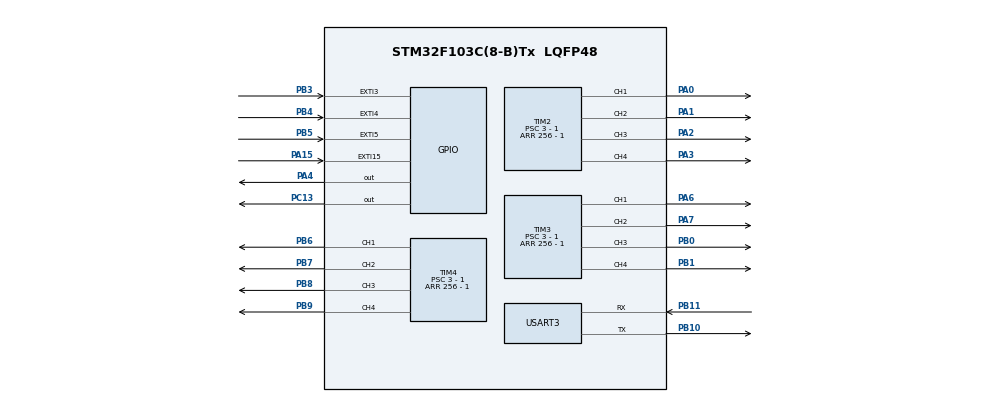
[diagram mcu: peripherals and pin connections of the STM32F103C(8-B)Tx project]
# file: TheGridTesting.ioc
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Mcu.Family=STM32F1
Mcu.Name=STM32F103C(8-B)Tx
Mcu.Package=LQFP48
NVIC.EXTI15_10_IRQn=true\:0\:0\:false\:false\:true\:true\:true\:true
NVIC.EXTI3_IRQn=true\:0\:0\:false\:false\:true\:true\:true\:true
NVIC.EXTI4_IRQn=true\:0\:0\:false\:false\:true\:true\:true\:true
NVIC.EXTI9_5_IRQn=true\:0\:0\:false\:false\:true\:true\:true\:true
NVIC.PriorityGroup=NVIC_PRIORITYGROUP_4
NVIC.USART3_IRQn=true\:0\:0\:false\:false\:true\:true\:true\:true
PA0-WKUP.Signal=S_TIM2_CH1_ETR
PA1.Signal=S_TIM2_CH2
PA15.GPIO_ModeDefaultEXTI=GPIO_MODE_IT_RISING
PA15.GPIO_PuPd=GPIO_NOPULL
PA15.Signal=GPXTI15
PA2.Signal=S_TIM2_CH3
PA3.Signal=S_TIM2_CH4
PA4.Signal=GPIO_Output
PA6.Signal=S_TIM3_CH1
PA7.Signal=S_TIM3_CH2
PB0.Signal=S_TIM3_CH3
PB1.Signal=S_TIM3_CH4
PB10.Mode=Asynchronous
PB10.Signal=USART3_TX
PB11.Mode=Asynchronous
PB11.Signal=USART3_RX
PB3.GPIO_ModeDefaultEXTI=GPIO_MODE_IT_RISING
PB3.GPIO_PuPd=GPIO_NOPULL
PB3.Signal=GPXTI3
PB4.GPIO_ModeDefaultEXTI=GPIO_MODE_IT_RISING
PB4.GPIO_PuPd=GPIO_NOPULL
PB4.Signal=GPXTI4
PB5.GPIO_ModeDefaultEXTI=GPIO_MODE_IT_RISING
PB5.GPIO_PuPd=GPIO_NOPULL
PB5.Signal=GPXTI5
PB6.Signal=S_TIM4_CH1
PB7.Signal=S_TIM4_CH2
PB8.Signal=S_TIM4_CH3
PB9.Signal=S_TIM4_CH4
PC13-TAMPER-RTC.Signal=GPIO_Output
ProjectManager.HeapSize=0x200
ProjectManager.StackSize=0x400
ProjectManager.TargetToolchain=STM32CubeIDE
RCC.APB1Freq_Value=8000000
RCC.APB2Freq_Value=8000000
SH.S_TIM2_CH1_ETR.0=TIM2_CH1,PWM Generation1 CH1
SH.S_TIM2_CH2.0=TIM2_CH2,PWM Generation2 CH2
SH.S_TIM2_CH3.0=TIM2_CH3,PWM Generation3 CH3
SH.S_TIM2_CH4.0=TIM2_CH4,PWM Generation4 CH4
SH.S_TIM3_CH1.0=TIM3_CH1,PWM Generation1 CH1
SH.S_TIM3_CH2.0=TIM3_CH2,PWM Generation2 CH2
SH.S_TIM3_CH3.0=TIM3_CH3,PWM Generation3 CH3
SH.S_TIM3_CH4.0=TIM3_CH4,PWM Generation4 CH4
SH.S_TIM4_CH1.0=TIM4_CH1,PWM Generation1 CH1
SH.S_TIM4_CH2.0=TIM4_CH2,PWM Generation2 CH2
SH.S_TIM4_CH3.0=TIM4_CH3,PWM Generation3 CH3
SH.S_TIM4_CH4.0=TIM4_CH4,PWM Generation4 CH4
TIM2.Channel-PWM\ Generation1\ CH1=TIM_CHANNEL_1
TIM2.Channel-PWM\ Generation2\ CH2=TIM_CHANNEL_2
TIM2.Channel-PWM\ Generation3\ CH3=TIM_CHANNEL_3
TIM2.Channel-PWM\ Generation4\ CH4=TIM_CHANNEL_4
TIM2.Period=256 - 1
TIM2.Prescaler=3 - 1
TIM3.Channel-PWM\ Generation1\ CH1=TIM_CHANNEL_1
TIM3.Channel-PWM\ Generation2\ CH2=TIM_CHANNEL_2
TIM3.Channel-PWM\ Generation3\ CH3=TIM_CHANNEL_3
TIM3.Channel-PWM\ Generation4\ CH4=TIM_CHANNEL_4
TIM3.Period=256 - 1
TIM3.Prescaler=3 - 1
TIM4.Channel-PWM\ Generation1\ CH1=TIM_CHANNEL_1
TIM4.Channel-PWM\ Generation2\ CH2=TIM_CHANNEL_2
TIM4.Channel-PWM\ Generation3\ CH3=TIM_CHANNEL_3
TIM4.Channel-PWM\ Generation4\ CH4=TIM_CHANNEL_4
TIM4.Period=256 - 1
TIM4.Prescaler=3 - 1
USART3.VirtualMode=VM_ASYNC
VP_SYS_VS_ND.Mode=No_Debug
board=custom

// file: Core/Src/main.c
/* USER CODE BEGIN Header */
/**
  ******************************************************************************
  * @file           : main.c
  * @brief          : Main program body
  ******************************************************************************
  * @attention
  *
  * Copyright (c) 2026 STMicroelectronics.
  * All rights reserved.
  *
  * This software is licensed under terms that can be found in the LICENSE file
  * in the root directory of this software component.
  * If no LICENSE file comes with this software, it is provided AS-IS.
  *
  ******************************************************************************
  */

/*
== LED TIMER CHANNEL REFERENCE ==
PB1 -> TIM3_CH4 (R1)
PB0 -> TIM3_CH3 (G1)
PA7 -> TIM3_CH2 (B1)

PA6 -> TIM3_CH1 (R2)
PB6 -> TIM4_CH1 (G2)
PB7 -> TIM4_CH2 (B2)

PA2 -> TIM2_CH3 (R3)
PA1 -> TIM2_CH2 (G3)
PA0 -> TIM2_CH1 (B3)

PB8 -> TIM4_CH3 (R4)
PB9 -> TIM4_CH4 (G4)
PA3 -> TIM2_CH4 (B4)
*/

/* USER CODE END Header */
#include "main.h"

TIM_HandleTypeDef htim2;
TIM_HandleTypeDef htim3;
TIM_HandleTypeDef htim4;

UART_HandleTypeDef huart3;

/* USER CODE BEGIN PV */
volatile uint8_t rainbow_flash_3 = 0;
volatile uint8_t rainbow_flash_4 = 0;

volatile uint32_t press_tick_3 = 0;
volatile uint32_t current_toggle_3 = 0;
volatile uint32_t last_toggle_3 = 0;
volatile uint8_t potentially_3 = 0;
volatile uint32_t press_tick_4 = 0;
volatile uint32_t current_toggle_4 = 0;
volatile uint32_t last_toggle_4 = 0;
volatile uint8_t potentially_4 = 0;

/* USER CODE END PV */

void SystemClock_Config(void);
static void MX_GPIO_Init(void);
static void MX_TIM2_Init(void);
static void MX_TIM3_Init(void);
static void MX_TIM4_Init(void);
static void MX_USART3_UART_Init(void);

/* USER CODE BEGIN 0 */

void set_rgb_1(uint8_t r, uint8_t g, uint8_t b)
{
    __HAL_TIM_SET_COMPARE(&htim3, TIM_CHANNEL_4, r);
    __HAL_TIM_SET_COMPARE(&htim3, TIM_CHANNEL_3, g);
    __HAL_TIM_SET_COMPARE(&htim3, TIM_CHANNEL_2, b);
}

void set_rgb_2(uint8_t r, uint8_t g, uint8_t b)
{
    __HAL_TIM_SET_COMPARE(&htim3, TIM_CHANNEL_1, r);
    __HAL_TIM_SET_COMPARE(&htim4, TIM_CHANNEL_1, g);
    __HAL_TIM_SET_COMPARE(&htim4, TIM_CHANNEL_2, b);
}

void set_rgb_3(uint8_t r, uint8_t g, uint8_t b)
{
    __HAL_TIM_SET_COMPARE(&htim2, TIM_CHANNEL_3, r);
    __HAL_TIM_SET_COMPARE(&htim2, TIM_CHANNEL_2, g);
    __HAL_TIM_SET_COMPARE(&htim2, TIM_CHANNEL_1, b);
}

void set_rgb_4(uint8_t r, uint8_t g, uint8_t b)
{
    __HAL_TIM_SET_COMPARE(&htim4, TIM_CHANNEL_3, r);
    __HAL_TIM_SET_COMPARE(&htim4, TIM_CHANNEL_4, g);
    __HAL_TIM_SET_COMPARE(&htim2, TIM_CHANNEL_4, b);
}

/* USER CODE END 0 */

int main(void)
{

  /* MCU Configuration--------------------------------------------------------*/

  /* Reset of all peripherals, Initializes the Flash interface and the Systick. */
  HAL_Init();

  /* Configure the system clock */
  SystemClock_Config();

  /* Initialize all configured peripherals */
  MX_GPIO_Init();
  MX_TIM2_Init();
  MX_TIM3_Init();
  MX_TIM4_Init();
  MX_USART3_UART_Init();
  /* USER CODE BEGIN 2 */

  /* Enable PWM Timers */
  HAL_TIM_PWM_Start(&htim2, TIM_CHANNEL_1);
  HAL_TIM_PWM_Start(&htim2, TIM_CHANNEL_2);
  HAL_TIM_PWM_Start(&htim2, TIM_CHANNEL_3);
  HAL_TIM_PWM_Start(&htim2, TIM_CHANNEL_4);

  HAL_TIM_PWM_Start(&htim3, TIM_CHANNEL_1);
  HAL_TIM_PWM_Start(&htim3, TIM_CHANNEL_2);
  HAL_TIM_PWM_Start(&htim3, TIM_CHANNEL_3);
  HAL_TIM_PWM_Start(&htim3, TIM_CHANNEL_4);

  HAL_TIM_PWM_Start(&htim4, TIM_CHANNEL_1);
  HAL_TIM_PWM_Start(&htim4, TIM_CHANNEL_2);
  HAL_TIM_PWM_Start(&htim4, TIM_CHANNEL_3);
  HAL_TIM_PWM_Start(&htim4, TIM_CHANNEL_4);

  /* USER CODE END 2 */

  /* Infinite loop */
  while (1)
  {

    /* USER CODE BEGIN 3 */

	if (potentially_3) {
		if (HAL_GPIO_ReadPin(GPIOB, GPIO_PIN_4) == GPIO_PIN_RESET) {
			potentially_3 = 0;
		}
		else if (HAL_GetTick() - press_tick_3 >= 10) {
			rainbow_flash_3 = !rainbow_flash_3;
			potentially_3 = 0;

		}
	}

	if (potentially_4) {
		if (HAL_GPIO_ReadPin(GPIOB, GPIO_PIN_5) == GPIO_PIN_RESET) {
			potentially_4 = 0;
		}
		else if (HAL_GetTick() - press_tick_4 >= 10) {
			rainbow_flash_4 = !rainbow_flash_4;
			potentially_4 = 0;

		}
	}

	static uint8_t hue = 0;

	// HSV to RGB, S=255 V=255
	uint8_t region = hue / 43;
	uint8_t remainder = (hue - region * 43) * 6;
	uint8_t q = 255 - remainder;
	uint8_t t = remainder;

	uint8_t r, g, b;
	switch (region) {
		case 0: r=255; g=t;   b=0;   break;
		case 1: r=q;   g=255; b=0;   break;
		case 2: r=0;   g=255; b=t;   break;
		case 3: r=0;   g=q;   b=255; break;
		case 4: r=t;   g=0;   b=255; break;
		default:r=255; g=0;   b=q;   break;
	}
	hue++;  // wraps at 256 automatically (uint8_t)

	HAL_Delay(1);

	if (rainbow_flash_3) {
		set_rgb_3(r, g, b);
	}
	else {
		set_rgb_3(0, 0, 0);
	}

	if (rainbow_flash_4) {
		set_rgb_4(r, g, b);
	}
	else {
		set_rgb_4(0, 0, 0);
	}
  }
  /* USER CODE END 3 */
}

void SystemClock_Config(void)
{
  RCC_OscInitTypeDef RCC_OscInitStruct = {0};
  RCC_ClkInitTypeDef RCC_ClkInitStruct = {0};

  /** Initializes the RCC Oscillators according to the specified parameters
  * in the RCC_OscInitTypeDef structure.
  */
  RCC_OscInitStruct.OscillatorType = RCC_OSCILLATORTYPE_HSI;
  RCC_OscInitStruct.HSIState = RCC_HSI_ON;
  RCC_OscInitStruct.HSICalibrationValue = RCC_HSICALIBRATION_DEFAULT;
  RCC_OscInitStruct.PLL.PLLState = RCC_PLL_NONE;
  if (HAL_RCC_OscConfig(&RCC_OscInitStruct) != HAL_OK)
  {
    Error_Handler();
  }

  /** Initializes the CPU, AHB and APB buses clocks
  */
  RCC_ClkInitStruct.ClockType = RCC_CLOCKTYPE_HCLK|RCC_CLOCKTYPE_SYSCLK
                              |RCC_CLOCKTYPE_PCLK1|RCC_CLOCKTYPE_PCLK2;
  RCC_ClkInitStruct.SYSCLKSource = RCC_SYSCLKSOURCE_HSI;
  RCC_ClkInitStruct.AHBCLKDivider = RCC_SYSCLK_DIV1;
  RCC_ClkInitStruct.APB1CLKDivider = RCC_HCLK_DIV1;
  RCC_ClkInitStruct.APB2CLKDivider = RCC_HCLK_DIV1;

  if (HAL_RCC_ClockConfig(&RCC_ClkInitStruct, FLASH_LATENCY_0) != HAL_OK)
  {
    Error_Handler();
  }
}

static void MX_TIM2_Init(void)
{

  TIM_MasterConfigTypeDef sMasterConfig = {0};
  TIM_OC_InitTypeDef sConfigOC = {0};

  htim2.Instance = TIM2;
  htim2.Init.Prescaler = 3 - 1;
  htim2.Init.CounterMode = TIM_COUNTERMODE_UP;
  htim2.Init.Period = 256 - 1;
  htim2.Init.ClockDivision = TIM_CLOCKDIVISION_DIV1;
  htim2.Init.AutoReloadPreload = TIM_AUTORELOAD_PRELOAD_DISABLE;
  if (HAL_TIM_PWM_Init(&htim2) != HAL_OK)
  {
    Error_Handler();
  }
  sMasterConfig.MasterOutputTrigger = TIM_TRGO_RESET;
  sMasterConfig.MasterSlaveMode = TIM_MASTERSLAVEMODE_DISABLE;
  if (HAL_TIMEx_MasterConfigSynchronization(&htim2, &sMasterConfig) != HAL_OK)
  {
    Error_Handler();
  }
  sConfigOC.OCMode = TIM_OCMODE_PWM1;
  sConfigOC.Pulse = 0;
  sConfigOC.OCPolarity = TIM_OCPOLARITY_HIGH;
  sConfigOC.OCFastMode = TIM_OCFAST_DISABLE;
  if (HAL_TIM_PWM_ConfigChannel(&htim2, &sConfigOC, TIM_CHANNEL_1) != HAL_OK)
  {
    Error_Handler();
  }
  if (HAL_TIM_PWM_ConfigChannel(&htim2, &sConfigOC, TIM_CHANNEL_2) != HAL_OK)
  {
    Error_Handler();
  }
  if (HAL_TIM_PWM_ConfigChannel(&htim2, &sConfigOC, TIM_CHANNEL_3) != HAL_OK)
  {
    Error_Handler();
  }
  if (HAL_TIM_PWM_ConfigChannel(&htim2, &sConfigOC, TIM_CHANNEL_4) != HAL_OK)
  {
    Error_Handler();
  }
  HAL_TIM_MspPostInit(&htim2);

}

static void MX_TIM3_Init(void)
{

  TIM_MasterConfigTypeDef sMasterConfig = {0};
  TIM_OC_InitTypeDef sConfigOC = {0};

  htim3.Instance = TIM3;
  htim3.Init.Prescaler = 3 - 1;
  htim3.Init.CounterMode = TIM_COUNTERMODE_UP;
  htim3.Init.Period = 256 - 1;
  htim3.Init.ClockDivision = TIM_CLOCKDIVISION_DIV1;
  htim3.Init.AutoReloadPreload = TIM_AUTORELOAD_PRELOAD_DISABLE;
  if (HAL_TIM_PWM_Init(&htim3) != HAL_OK)
  {
    Error_Handler();
  }
  sMasterConfig.MasterOutputTrigger = TIM_TRGO_RESET;
  sMasterConfig.MasterSlaveMode = TIM_MASTERSLAVEMODE_DISABLE;
  if (HAL_TIMEx_MasterConfigSynchronization(&htim3, &sMasterConfig) != HAL_OK)
  {
    Error_Handler();
  }
  sConfigOC.OCMode = TIM_OCMODE_PWM1;
  sConfigOC.Pulse = 0;
  sConfigOC.OCPolarity = TIM_OCPOLARITY_HIGH;
  sConfigOC.OCFastMode = TIM_OCFAST_DISABLE;
  if (HAL_TIM_PWM_ConfigChannel(&htim3, &sConfigOC, TIM_CHANNEL_1) != HAL_OK)
  {
    Error_Handler();
  }
  if (HAL_TIM_PWM_ConfigChannel(&htim3, &sConfigOC, TIM_CHANNEL_2) != HAL_OK)
  {
    Error_Handler();
  }
  if (HAL_TIM_PWM_ConfigChannel(&htim3, &sConfigOC, TIM_CHANNEL_3) != HAL_OK)
  {
    Error_Handler();
  }
  if (HAL_TIM_PWM_ConfigChannel(&htim3, &sConfigOC, TIM_CHANNEL_4) != HAL_OK)
  {
    Error_Handler();
  }
  HAL_TIM_MspPostInit(&htim3);

}

static void MX_TIM4_Init(void)
{

  TIM_MasterConfigTypeDef sMasterConfig = {0};
  TIM_OC_InitTypeDef sConfigOC = {0};

  htim4.Instance = TIM4;
  htim4.Init.Prescaler = 3 - 1;
  htim4.Init.CounterMode = TIM_COUNTERMODE_UP;
  htim4.Init.Period = 256 - 1;
  htim4.Init.ClockDivision = TIM_CLOCKDIVISION_DIV1;
  htim4.Init.AutoReloadPreload = TIM_AUTORELOAD_PRELOAD_DISABLE;
  if (HAL_TIM_PWM_Init(&htim4) != HAL_OK)
  {
    Error_Handler();
  }
  sMasterConfig.MasterOutputTrigger = TIM_TRGO_RESET;
  sMasterConfig.MasterSlaveMode = TIM_MASTERSLAVEMODE_DISABLE;
  if (HAL_TIMEx_MasterConfigSynchronization(&htim4, &sMasterConfig) != HAL_OK)
  {
    Error_Handler();
  }
  sConfigOC.OCMode = TIM_OCMODE_PWM1;
  sConfigOC.Pulse = 0;
  sConfigOC.OCPolarity = TIM_OCPOLARITY_HIGH;
  sConfigOC.OCFastMode = TIM_OCFAST_DISABLE;
  if (HAL_TIM_PWM_ConfigChannel(&htim4, &sConfigOC, TIM_CHANNEL_1) != HAL_OK)
  {
    Error_Handler();
  }
  if (HAL_TIM_PWM_ConfigChannel(&htim4, &sConfigOC, TIM_CHANNEL_2) != HAL_OK)
  {
    Error_Handler();
  }
  if (HAL_TIM_PWM_ConfigChannel(&htim4, &sConfigOC, TIM_CHANNEL_3) != HAL_OK)
  {
    Error_Handler();
  }
  if (HAL_TIM_PWM_ConfigChannel(&htim4, &sConfigOC, TIM_CHANNEL_4) != HAL_OK)
  {
    Error_Handler();
  }
  HAL_TIM_MspPostInit(&htim4);

}

static void MX_USART3_UART_Init(void)
{

  huart3.Instance = USART3;
  huart3.Init.BaudRate = 115200;
  huart3.Init.WordLength = UART_WORDLENGTH_8B;
  huart3.Init.StopBits = UART_STOPBITS_1;
  huart3.Init.Parity = UART_PARITY_NONE;
  huart3.Init.Mode = UART_MODE_TX_RX;
  huart3.Init.HwFlowCtl = UART_HWCONTROL_NONE;
  huart3.Init.OverSampling = UART_OVERSAMPLING_16;
  if (HAL_UART_Init(&huart3) != HAL_OK)
  {
    Error_Handler();
  }

}

static void MX_GPIO_Init(void)
{
  GPIO_InitTypeDef GPIO_InitStruct = {0};

  /* GPIO Ports Clock Enable */
  __HAL_RCC_GPIOC_CLK_ENABLE();
  __HAL_RCC_GPIOA_CLK_ENABLE();
  __HAL_RCC_GPIOB_CLK_ENABLE();

  /*Configure GPIO pin Output Level */
  HAL_GPIO_WritePin(GPIOC, GPIO_PIN_13, GPIO_PIN_RESET);

  /*Configure GPIO pin Output Level */
  HAL_GPIO_WritePin(GPIOA, GPIO_PIN_4, GPIO_PIN_RESET);

  /*Configure GPIO pin : PC13 */
  GPIO_InitStruct.Pin = GPIO_PIN_13;
  GPIO_InitStruct.Mode = GPIO_MODE_OUTPUT_PP;
  GPIO_InitStruct.Pull = GPIO_NOPULL;
  GPIO_InitStruct.Speed = GPIO_SPEED_FREQ_LOW;
  HAL_GPIO_Init(GPIOC, &GPIO_InitStruct);

  /*Configure GPIO pin : PA4 */
  GPIO_InitStruct.Pin = GPIO_PIN_4;
  GPIO_InitStruct.Mode = GPIO_MODE_OUTPUT_PP;
  GPIO_InitStruct.Pull = GPIO_NOPULL;
  GPIO_InitStruct.Speed = GPIO_SPEED_FREQ_LOW;
  HAL_GPIO_Init(GPIOA, &GPIO_InitStruct);

  /*Configure GPIO pin : PA15 */
  GPIO_InitStruct.Pin = GPIO_PIN_15;
  GPIO_InitStruct.Mode = GPIO_MODE_IT_RISING;
  GPIO_InitStruct.Pull = GPIO_NOPULL;
  HAL_GPIO_Init(GPIOA, &GPIO_InitStruct);

  /*Configure GPIO pins : PB3 PB4 PB5 */
  GPIO_InitStruct.Pin = GPIO_PIN_3|GPIO_PIN_4|GPIO_PIN_5;
  GPIO_InitStruct.Mode = GPIO_MODE_IT_RISING;
  GPIO_InitStruct.Pull = GPIO_NOPULL;
  HAL_GPIO_Init(GPIOB, &GPIO_InitStruct);

  /* EXTI interrupt init*/
  HAL_NVIC_SetPriority(EXTI3_IRQn, 0, 0);
  HAL_NVIC_EnableIRQ(EXTI3_IRQn);

  HAL_NVIC_SetPriority(EXTI4_IRQn, 0, 0);
  HAL_NVIC_EnableIRQ(EXTI4_IRQn);

  HAL_NVIC_SetPriority(EXTI9_5_IRQn, 0, 0);
  HAL_NVIC_EnableIRQ(EXTI9_5_IRQn);

  HAL_NVIC_SetPriority(EXTI15_10_IRQn, 0, 0);
  HAL_NVIC_EnableIRQ(EXTI15_10_IRQn);

}

/* USER CODE BEGIN 4 */

void HAL_GPIO_EXTI_Callback(uint16_t GPIO_Pin)
{
    if (GPIO_Pin == GPIO_PIN_4)
    {
    	current_toggle_3 = HAL_GetTick();
//		if (current_toggle_3 - last_toggle_3 > 50) {
			press_tick_3 = current_toggle_3;
			potentially_3 = 1;
//		}
        last_toggle_3 = current_toggle_3;
    }

    if (GPIO_Pin == GPIO_PIN_5)
    {
    	current_toggle_4 = HAL_GetTick();
//		if (current_toggle_4 - last_toggle_4 > 50) {
			press_tick_4 = current_toggle_4;
			potentially_4 = 1;
//		}
        last_toggle_4 = current_toggle_4;
    }
}

//void HAL_GPIO_EXTI_Callback(uint16_t GPIO_Pin)
//{
//    if (GPIO_Pin == GPIO_PIN_4)
//    {
//        static uint32_t last_tick = 0;
//        if (HAL_GetTick() - last_tick > 200)
//        {
//            rainbow_flash_3 = !rainbow_flash_3;
//            last_tick = HAL_GetTick();
//        }
//    }
//    if (GPIO_Pin == GPIO_PIN_5)
//	{
//		static uint32_t last_tick = 0;
//		if (HAL_GetTick() - last_tick > 200)
//		{
//			rainbow_flash_4 = !rainbow_flash_4;
//			last_tick = HAL_GetTick();
//		}
//	}
//}

/* USER CODE END 4 */

void Error_Handler(void)
{
  __disable_irq();
  while (1)
  {
  }
}
